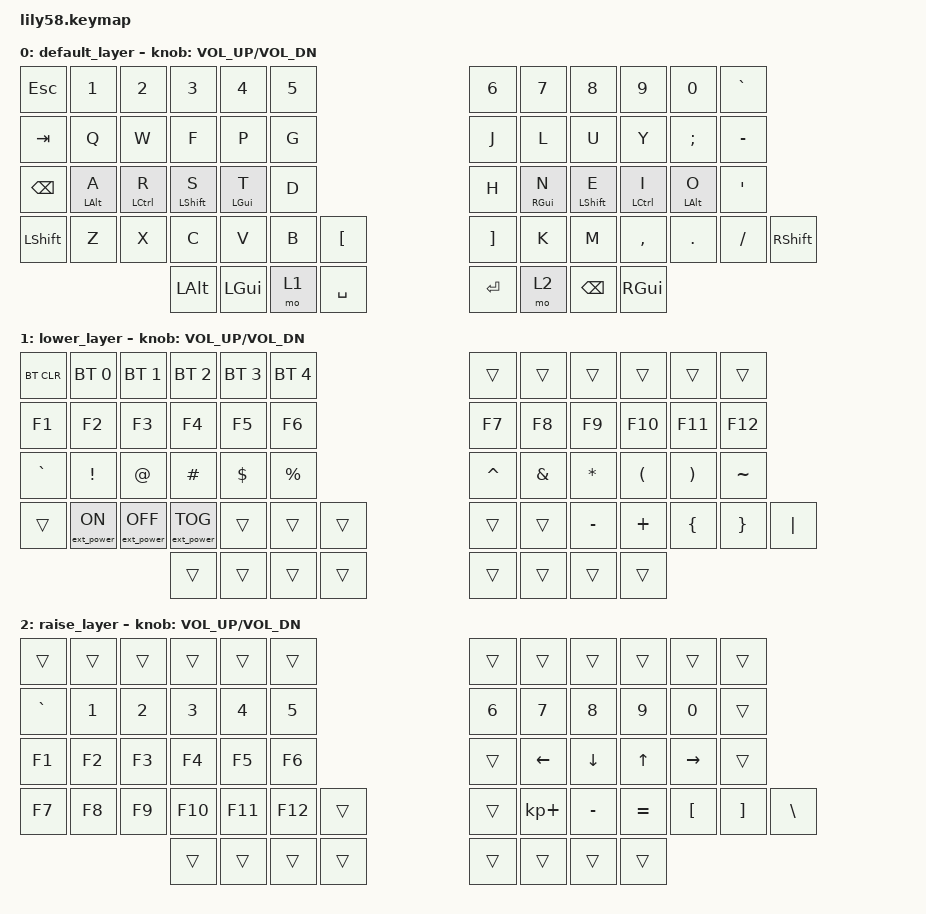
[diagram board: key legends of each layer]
/*
 * Copyright (c) 2020 The ZMK Contributors
 *
 * SPDX-License-Identifier: MIT
 */

#include <behaviors.dtsi>
#include <dt-bindings/zmk/keys.h>
#include <dt-bindings/zmk/bt.h>
#include <dt-bindings/zmk/ext_power.h>

#include "zmk-helpers/helper.h"

// Source desired key-position labels
#include "zmk-helpers/key-labels/lily58.h"

#define KEYS_L LT0 LT1 LT2 LT3 LT4 LT5 LM0 LM1 LM2 LM3 LM4 LM5 LB0 LB1 LB2 LB3 LB4 LB5 LF0 LF1 LF2 LF3 LF4 LF5 // left-hand keys
#define KEYS_R RT0 RT1 RT2 RT3 RT4 RT5 RM0 RM1 RM2 RM3 RM4 RM5 RB0 RB1 RB2 RB3 RB4 RB5 RF0 RF1 RF2 RF3 RF4 RF5// right-hand keys
#define THUMBS LH3 LH2 LH1 LH0 RH0 RH1 RH2 RH3                                     // thumb keys

ZMK_HOLD_TAP(hml,
    flavor = "balanced";
    tapping-term-ms = <280>;
    quick-tap-ms = <175>;                // repeat on tap-into-hold
    require-prior-idle-ms = <150>;
    bindings = <&kp>, <&kp>;
    hold-trigger-key-positions = <KEYS_R THUMBS>;
    hold-trigger-on-release;             // delay positional check until key-release
)

/* right-hand HRMs */
ZMK_HOLD_TAP(hmr,
    flavor = "balanced";
    tapping-term-ms = <280>;
    quick-tap-ms = <175>;                // repeat on tap-into-hold
    require-prior-idle-ms = <150>;
    bindings = <&kp>, <&kp>;
    hold-trigger-key-positions = <KEYS_L THUMBS>;
    hold-trigger-on-release;             // delay positional check until key-release
)

/ {
    behaviors {
        lh_pht: left_positional_hold_tap {
            compatible = "zmk,behavior-hold-tap";
            #binding-cells = <2>;
            flavor = "hold-preferred";
            tapping-term-ms = <100>;                        // <---[[produces tap if held longer than tapping-term-ms]]
            quick-tap-ms = <200>;
            bindings = <&kp>, <&kp>;
            hold-trigger-key-positions = <24 25 26 27 28 29>;    // <---[[right-hand keys]]
        };
        rh_pht: right_positional_hold_tap {
            compatible = "zmk,behavior-hold-tap";
            #binding-cells = <2>;
            flavor = "hold-preferred";
            tapping-term-ms = <100>;                        // <---[[produces tap if held longer than tapping-term-ms]]
            quick-tap-ms = <200>;
            bindings = <&kp>, <&kp>;
            hold-trigger-key-positions = < 6 7 8 9 10 11>;    // <---[[right-hand keys]]
        };
    };

    keymap {
        compatible = "zmk,keymap";

        default_layer {
// ------------------------------------------------------------------------------------------------------------
// |  ESC  |  1  |  2  |  3   |  4   |  5   |                   |  6   |  7    |  8    |  9   |   0   |   `   |
// |  TAB  |  Q  |  W  |  E   |  R   |  T   |                   |  Y   |  U    |  I    |  O   |   P   |   -   |
// |  CTRL |  A  |  S  |  D   |  F   |  G   |                   |  H   |  J    |  K    |  L   |   ;   |   '   |
// | SHIFT |  Z  |  X  |  C   |  V   |  B   |   "["  |  |  "]"  |  N   |  M    |  ,    |  .   |   /   | SHIFT |
//                     | ALT  | GUI  | LOWER|  SPACE |  | ENTER | RAISE| BSPC  | GUI   |
            bindings = <
&kp ESC   &kp N1 &kp N2 &kp N3   &kp N4   &kp N5                                                          &kp N6 &kp N7   &kp N8    &kp N9  &kp N0   &kp GRAVE
&kp TAB   &kp Q  &kp W  &kp F    &kp P    &kp G                                                           &kp J  &kp L    &kp U     &kp Y   &kp SEMI &kp MINUS
&kp BKSP  &hml LALT A  &hml LCTRL R  &hml LSHFT S  &hml LGUI T    &kp D                     &kp H  &hmr RGUI N &hmr LSHFT E &hmr LCTRL I &hmr LALT O &kp SQT
&kp LSHFT &kp Z  &kp X  &kp C    &kp V    &kp B  &kp LBKT                                                 &kp RBKT &kp K  &kp M  &kp COMMA &kp DOT &kp FSLH &kp RSHFT
                        &kp LALT &kp LGUI &mo 1  &kp SPACE                                                &kp RET  &mo 2  &kp BSPC &kp RGUI
            >;

            sensor-bindings = <&inc_dec_kp C_VOL_UP C_VOL_DN>;
        };

        lower_layer {
// ------------------------------------------------------------------------------------------------------------
// | BTCLR | BT1 | BT2 |  BT3 |  BT4 |  BT5 |                   |      |       |       |      |       |       |
// |  F1   |  F2 |  F3 |  F4  |  F5  |  F6  |                   |  F7  |  F8   |  F9   |  F10 |  F11  |  F12  |
// |   `   |  !  |  @  |  #   |  $   |  %   |                   |  ^   |  &    |  *    |  (   |   )   |   ~   |
// |       |     |     |      |      |      |        |  |       |      |  _    |  +    |  {   |   }   |  "|"  |
//                     |      |      |      |        |  |       |      |       |       |
            bindings = <
&bt BT_CLR &bt BT_SEL 0     &bt BT_SEL 1      &bt BT_SEL 2      &bt BT_SEL 3 &bt BT_SEL 4                 &trans    &trans    &trans    &trans    &trans    &trans
&kp F1     &kp F2           &kp F3            &kp F4            &kp F5       &kp F6                       &kp F7    &kp F8    &kp F9    &kp F10   &kp F11   &kp F12
&kp GRAVE  &kp EXCL         &kp AT            &kp HASH          &kp DOLLAR   &kp PRCNT                    &kp CARET &kp AMPS  &kp ASTRK &kp LPAR  &kp RPAR  &kp TILDE
&trans     &ext_power EP_ON &ext_power EP_OFF &ext_power EP_TOG &trans       &trans    &trans   &trans    &trans    &kp MINUS &kp PLUS  &kp LBRC  &kp RBRC  &kp PIPE
                                              &trans            &trans       &trans    &trans   &trans    &trans    &trans    &trans
            >;

            sensor-bindings = <&inc_dec_kp C_VOL_UP C_VOL_DN>;
        };

        raise_layer {
// ------------------------------------------------------------------------------------------------------------
// |       |     |     |      |      |      |                   |      |       |       |      |       |       |
// |   `   |  1  |  2  |  3   |  4   |  5   |                   |  6   |   7   |   8   |  9   |   0   |       |
// |   F1  |  F2 |  F3 |  F4  |  F5  |  F6  |                   |      |   <-  |   v   |  ^   |  ->   |       |
// |   F7  |  F8 |  F9 |  F10 |  F11 |  F12 |        |  |       |  +   |   -   |   =   |  [   |   ]   |   \   |
//                     |      |      |      |        |  |       |      |       |       |
            bindings = <
&trans    &trans &trans &trans  &trans  &trans                       &trans      &trans    &trans    &trans   &trans    &trans
&kp GRAVE &kp N1 &kp N2 &kp N3  &kp N4  &kp N5                       &kp N6      &kp N7    &kp N8    &kp N9   &kp N0    &trans
&kp F1    &kp F2 &kp F3 &kp F4  &kp F5  &kp F6                       &trans      &kp LEFT  &kp DOWN  &kp UP   &kp RIGHT &trans
&kp F7    &kp F8 &kp F9 &kp F10 &kp F11 &kp F12   &trans   &trans    &kp KP_PLUS &kp MINUS &kp EQUAL &kp LBKT &kp RBKT  &kp BSLH
                        &trans  &trans  &trans    &trans   &trans    &trans      &trans    &trans
            >;

            sensor-bindings = <&inc_dec_kp C_VOL_UP C_VOL_DN>;
        };
    };
};
